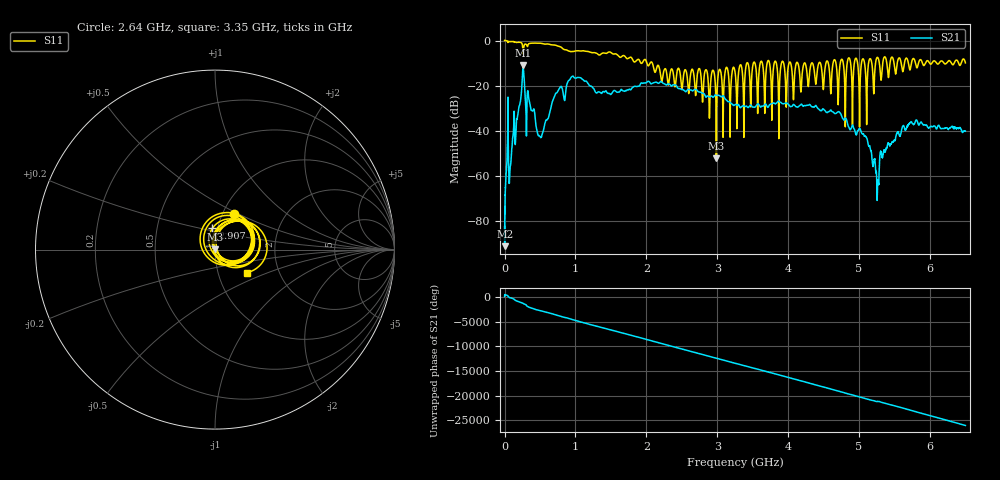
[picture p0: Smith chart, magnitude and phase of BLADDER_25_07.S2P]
!Keysight Technologies,E5063A,MY54503115,A.05.08
!Date: Sun Feb 04 18:25:30 2024
!Data & Calibration Information:
!Freq	S11:NONE(--)	S21:NONE(--)	S12:NONE(--)	S22:NONE(--)
# Hz S dB R 50
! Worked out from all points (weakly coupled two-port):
!   10001 points, 100 kHz to 6.5 GHz, reference 50 ohm
!   highest |S21| = -10.96 dB at 260.1 MHz (marker M1); lowest = -91.3 dB at 750 kHz (marker M2)
!   lowest |S11| = -52.3 dB at 2.987 GHz (marker M3), VSWR 1.00, Z = 50.2 + j0.124 ohm
!   |S11| at or under -10 dB: 2.084 GHz to 3.417 GHz (1.333 GHz wide, 48.5 % of centre); 4.136 GHz to 4.227 GHz (91.64 MHz wide, 2.19 % of centre); 4.238 GHz to 4.331 GHz (92.76 MHz wide, 2.17 % of centre) (the widest 3 of 33)
!   S12 and S22 are empty: the file has one direction only
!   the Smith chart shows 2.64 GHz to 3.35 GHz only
!   S11 on the Smith chart (normalised r, x): 2.64 GHz: 1.13, +0.48; 2.907 GHz: 0.94, +0.23; 3.35 GHz: 1.38, -0.37
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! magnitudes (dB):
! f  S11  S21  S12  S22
! 100 kHz  0.0  -82.6  -  -
! 750 kHz  0.0  -91.3  -  -
! 38.45 MHz  -0.2  -47.0  -  -
! 87.2 MHz  -0.5  -54.4  -  -
! 260.1 MHz  -5.8  -11.0  -  -
! 499.3 MHz  -1.2  -42.6  -  -
! 767.7 MHz  -2.6  -21.6  -  -
! 1.084 GHz  -4.6  -16.8  -  -
! 1.483 GHz  -5.1  -23.6  -  -
! 2.167 GHz  -11.0  -19.0  -  -
! 2.64 GHz  -12.9  -22.1  -  -
! 2.907 GHz  -18.5  -24.8  -  -
! 2.987 GHz  -52.3  -24.4  -  -
! 3.034 GHz  -12.8  -24.5  -  -
! 3.25 GHz  -13.9  -28.5  -  -
! 3.35 GHz  -13.2  -29.2  -  -
! 4.334 GHz  -9.9  -29.4  -  -
! 5.031 GHz  -10.7  -40.6  -  -
! 5.255 GHz  -7.5  -71.0  -  -
! 5.417 GHz  -16.2  -45.8  -  -
! 5.799 GHz  -10.5  -35.6  -  -
! 6.5 GHz  -9.9  -40.3  -  -
